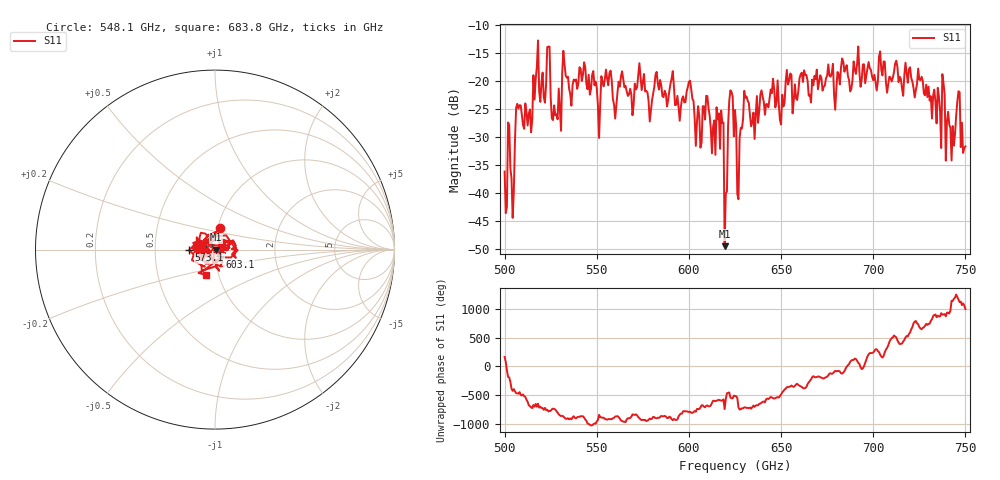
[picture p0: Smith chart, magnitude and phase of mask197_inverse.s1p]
!Created with skrf (http://scikit-rf.org).
# GHz S MA R 50.0
!freq magS11 angS11
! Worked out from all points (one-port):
!   401 points, 500 GHz to 750 GHz, reference 50 ohm
!   lowest |S11| = -49.6 dB at 619.4 GHz (marker M1), VSWR 1.01, Z = 50.3 - j0.126 ohm
!   |S11| at or under -10 dB: start of sweep to end of sweep
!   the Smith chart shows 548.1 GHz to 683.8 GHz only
!   S11 on the Smith chart (normalised r, x): 548.1 GHz: 1.03, +0.25; 573.1 GHz: 0.75, -0.01; 603.1 GHz: 1.05, -0.08; 683.8 GHz: 0.87, -0.25
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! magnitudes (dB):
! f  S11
! 500 GHz  -36.2
! 504.4 GHz  -44.5
! 507.5 GHz  -24.9
! 513.8 GHz  -25.1
! 516.9 GHz  -19.6
! 523.8 GHz  -13.8
! 526.9 GHz  -24.3
! 531.2 GHz  -18.5
! 548.1 GHz  -18.2
! 562.5 GHz  -21.0
! 573.1 GHz  -16.8
! 593.8 GHz  -22.6
! 600 GHz  -20.1
! 603.1 GHz  -26.7
! 617.5 GHz  -25.3
! 619.4 GHz  -49.6
! 622.5 GHz  -21.6
! 625 GHz  -25.2
! 627.5 GHz  -30.2
! 631.2 GHz  -22.7
! 635 GHz  -25.6
! 656.2 GHz  -25.8
! 683.8 GHz  -16.5
! 687.5 GHz  -21.8
! 718.8 GHz  -20.3
! 743.1 GHz  -28.0
! 745.6 GHz  -23.6
! 750 GHz  -31.7
